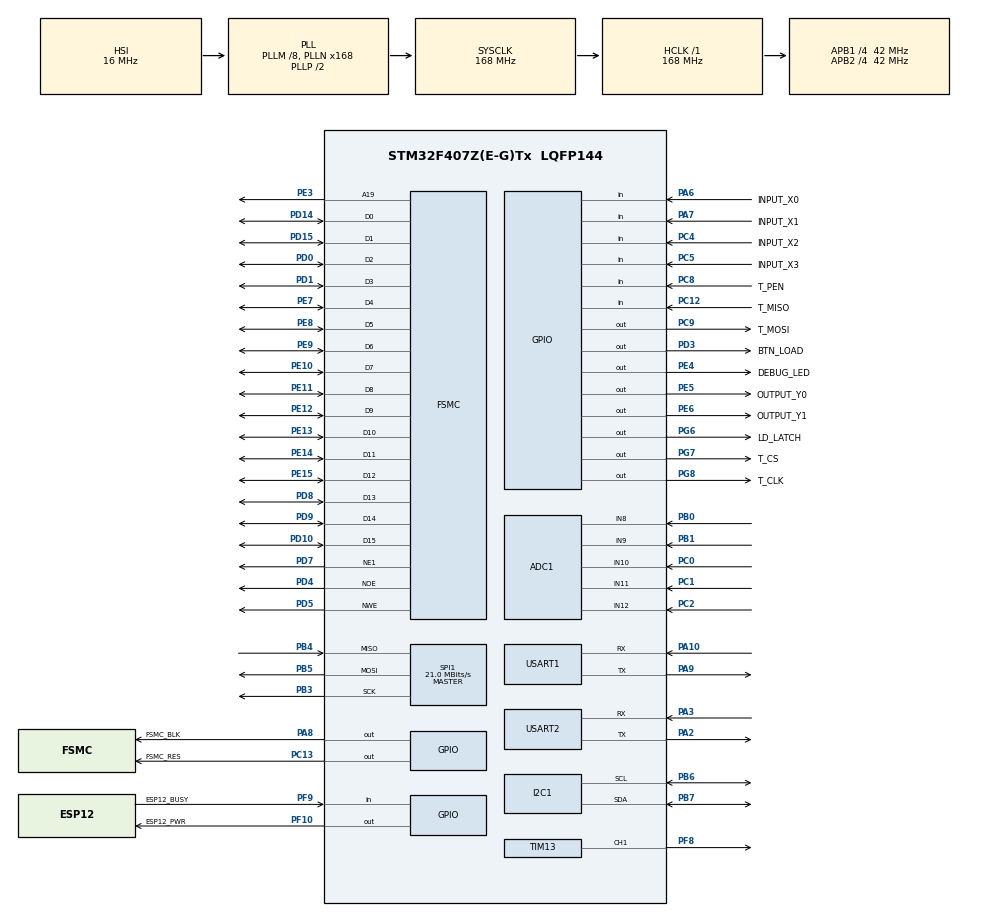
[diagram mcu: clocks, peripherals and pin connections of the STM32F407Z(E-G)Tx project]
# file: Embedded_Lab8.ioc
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ADC1.Channel-0\#ChannelRegularConversion=ADC_CHANNEL_8
ADC1.Channel-1\#ChannelRegularConversion=ADC_CHANNEL_9
ADC1.Channel-2\#ChannelRegularConversion=ADC_CHANNEL_10
ADC1.Channel-3\#ChannelRegularConversion=ADC_CHANNEL_11
ADC1.Channel-4\#ChannelRegularConversion=ADC_CHANNEL_12
ADC1.NbrOfConversion=5
ADC1.NbrOfConversionFlag=1
ADC1.Rank-0\#ChannelRegularConversion=1
ADC1.Rank-1\#ChannelRegularConversion=2
ADC1.Rank-2\#ChannelRegularConversion=3
ADC1.Rank-3\#ChannelRegularConversion=4
ADC1.Rank-4\#ChannelRegularConversion=5
ADC1.SamplingTime-0\#ChannelRegularConversion=ADC_SAMPLETIME_3CYCLES
ADC1.SamplingTime-1\#ChannelRegularConversion=ADC_SAMPLETIME_3CYCLES
ADC1.SamplingTime-2\#ChannelRegularConversion=ADC_SAMPLETIME_3CYCLES
ADC1.SamplingTime-3\#ChannelRegularConversion=ADC_SAMPLETIME_3CYCLES
ADC1.SamplingTime-4\#ChannelRegularConversion=ADC_SAMPLETIME_3CYCLES
ADC1.ScanConvMode=ENABLE
ADC1.master=1
Dma.ADC1.0.Direction=DMA_PERIPH_TO_MEMORY
Dma.ADC1.0.FIFOMode=DMA_FIFOMODE_DISABLE
Dma.ADC1.0.Instance=DMA2_Stream0
Dma.ADC1.0.MemDataAlignment=DMA_MDATAALIGN_HALFWORD
Dma.ADC1.0.MemInc=DMA_MINC_ENABLE
Dma.ADC1.0.Mode=DMA_CIRCULAR
Dma.ADC1.0.PeriphDataAlignment=DMA_PDATAALIGN_HALFWORD
Dma.ADC1.0.PeriphInc=DMA_PINC_DISABLE
Dma.ADC1.0.Priority=DMA_PRIORITY_LOW
Dma.Request0=ADC1
FSMC.AddressSetupTime1=0xf
FSMC.BusTurnAroundDuration1=0
FSMC.DataSetupTime1=60
FSMC.ExtendedAddressSetupTime1=8
FSMC.ExtendedBusTurnAroundDuration1=0
FSMC.ExtendedDataSetupTime1=9
FSMC.ExtendedMode1=FSMC_EXTENDED_MODE_ENABLE
Mcu.Family=STM32F4
Mcu.Name=STM32F407Z(E-G)Tx
Mcu.Package=LQFP144
NVIC.DMA2_Stream0_IRQn=true\:0\:0\:false\:false\:true\:false\:true
NVIC.PriorityGroup=NVIC_PRIORITYGROUP_4
NVIC.TIM2_IRQn=true\:0\:0\:false\:false\:true\:true\:true
NVIC.USART1_IRQn=true\:0\:0\:false\:false\:true\:true\:true
NVIC.USART2_IRQn=true\:0\:0\:false\:false\:true\:true\:true
PA10.Mode=Asynchronous
PA10.Signal=USART1_RX
PA13.Mode=Serial_Wire
PA13.Signal=SYS_JTMS-SWDIO
PA14.Mode=Serial_Wire
PA14.Signal=SYS_JTCK-SWCLK
PA2.Mode=Asynchronous
PA2.Signal=USART2_TX
PA3.Mode=Asynchronous
PA3.Signal=USART2_RX
PA6.GPIO_Label=INPUT_X0
PA6.Signal=GPIO_Input
PA7.GPIO_Label=INPUT_X1
PA7.Signal=GPIO_Input
PA8.GPIO_Label=FSMC_BLK
PA8.Signal=GPIO_Output
PA9.Mode=Asynchronous
PA9.Signal=USART1_TX
PB0.Signal=ADCx_IN8
PB1.Signal=ADCx_IN9
PB3.Mode=Full_Duplex_Master
PB3.Signal=SPI1_SCK
PB4.Mode=Full_Duplex_Master
PB4.Signal=SPI1_MISO
PB5.Mode=Full_Duplex_Master
PB5.Signal=SPI1_MOSI
PB6.Mode=I2C
PB6.Signal=I2C1_SCL
PB7.Mode=I2C
PB7.Signal=I2C1_SDA
PC0.Signal=ADCx_IN10
PC1.Signal=ADCx_IN11
PC12.GPIO_Label=T_MISO
PC12.GPIO_PuPd=GPIO_PULLUP
PC12.Signal=GPIO_Input
PC13-ANTI_TAMP.GPIO_Label=FSMC_RES
PC13-ANTI_TAMP.Signal=GPIO_Output
PC2.Signal=ADCx_IN12
PC4.GPIO_Label=INPUT_X2
PC4.Signal=GPIO_Input
PC5.GPIO_Label=INPUT_X3
PC5.Signal=GPIO_Input
PC8.GPIO_Label=T_PEN
PC8.GPIO_PuPd=GPIO_PULLUP
PC8.Signal=GPIO_Input
PC9.GPIO_Label=T_MOSI
PC9.Signal=GPIO_Output
PD0.Signal=FSMC_D2_DA2
PD1.Signal=FSMC_D3_DA3
PD10.Signal=FSMC_D15_DA15
PD14.Signal=FSMC_D0_DA0
PD15.Signal=FSMC_D1_DA1
PD3.GPIO_Label=BTN_LOAD
PD3.Signal=GPIO_Output
PD4.Signal=FSMC_NOE
PD5.Signal=FSMC_NWE
PD7.Mode=NorPsramChipSelect1_1
PD7.Signal=FSMC_NE1
PD8.Signal=FSMC_D13_DA13
PD9.Signal=FSMC_D14_DA14
PE10.Signal=FSMC_D7_DA7
PE11.Signal=FSMC_D8_DA8
PE12.Signal=FSMC_D9_DA9
PE13.Signal=FSMC_D10_DA10
PE14.Signal=FSMC_D11_DA11
PE15.Signal=FSMC_D12_DA12
PE3.Signal=FSMC_A19
PE4.GPIO_Label=DEBUG_LED
PE4.Signal=GPIO_Output
PE5.GPIO_Label=OUTPUT_Y0
PE5.Signal=GPIO_Output
PE6.GPIO_Label=OUTPUT_Y1
PE6.Signal=GPIO_Output
PE7.Signal=FSMC_D4_DA4
PE8.Signal=FSMC_D5_DA5
PE9.Signal=FSMC_D6_DA6
PF10.GPIO_Label=ESP12_PWR
PF10.Signal=GPIO_Output
PF8.Signal=S_TIM13_CH1
PF9.GPIO_Label=ESP12_BUSY
PF9.Signal=GPIO_Input
PG6.GPIO_Label=LD_LATCH
PG6.Signal=GPIO_Output
PG7.GPIO_Label=T_CS
PG7.Signal=GPIO_Output
PG8.GPIO_Label=T_CLK
PG8.Signal=GPIO_Output
PH0-OSC_IN.Mode=HSE-External-Oscillator
PH0-OSC_IN.Signal=RCC_OSC_IN
PH1-OSC_OUT.Mode=HSE-External-Oscillator
PH1-OSC_OUT.Signal=RCC_OSC_OUT
ProjectManager.HeapSize=0x200
ProjectManager.StackSize=0x400
ProjectManager.TargetToolchain=STM32CubeIDE
RCC.48MHZClocksFreq_Value=84000000
RCC.AHBFreq_Value=168000000
RCC.APB1CLKDivider=RCC_HCLK_DIV4
RCC.APB1Freq_Value=42000000
RCC.APB1TimFreq_Value=84000000
RCC.APB2CLKDivider=RCC_HCLK_DIV4
RCC.APB2Freq_Value=42000000
RCC.APB2TimFreq_Value=84000000
RCC.CortexFreq_Value=168000000
RCC.HCLKFreq_Value=168000000
RCC.HSE_VALUE=8000000
RCC.HSI_VALUE=16000000
RCC.LSE_VALUE=32768
RCC.PLLM=8
RCC.PLLN=168
RCC.SYSCLKFreq_VALUE=168000000
RCC.SYSCLKSource=RCC_SYSCLKSOURCE_PLLCLK
RCC.VCOOutputFreq_Value=336000000
SH.ADCx_IN10.0=ADC1_IN10,IN10
SH.ADCx_IN11.0=ADC1_IN11,IN11
SH.ADCx_IN12.0=ADC1_IN12,IN12
SH.ADCx_IN8.0=ADC1_IN8,IN8
SH.ADCx_IN9.0=ADC1_IN9,IN9
SH.FSMC_A19.0=FSMC_A19,A19_1
SH.FSMC_D0_DA0.0=FSMC_D0,16b-d1
SH.FSMC_D10_DA10.0=FSMC_D10,16b-d1
SH.FSMC_D11_DA11.0=FSMC_D11,16b-d1
SH.FSMC_D12_DA12.0=FSMC_D12,16b-d1
SH.FSMC_D13_DA13.0=FSMC_D13,16b-d1
SH.FSMC_D14_DA14.0=FSMC_D14,16b-d1
SH.FSMC_D15_DA15.0=FSMC_D15,16b-d1
SH.FSMC_D1_DA1.0=FSMC_D1,16b-d1
SH.FSMC_D2_DA2.0=FSMC_D2,16b-d1
SH.FSMC_D3_DA3.0=FSMC_D3,16b-d1
SH.FSMC_D4_DA4.0=FSMC_D4,16b-d1
SH.FSMC_D5_DA5.0=FSMC_D5,16b-d1
SH.FSMC_D6_DA6.0=FSMC_D6,16b-d1
SH.FSMC_D7_DA7.0=FSMC_D7,16b-d1
SH.FSMC_D8_DA8.0=FSMC_D8,16b-d1
SH.FSMC_D9_DA9.0=FSMC_D9,16b-d1
SH.FSMC_NOE.0=FSMC_NOE,Lcd1
SH.FSMC_NWE.0=FSMC_NWE,Lcd1
SH.S_TIM13_CH1.0=TIM13_CH1,PWM Generation1 CH1
SPI1.CalculateBaudRate=21.0 MBits/s
SPI1.Direction=SPI_DIRECTION_2LINES
SPI1.Mode=SPI_MODE_MASTER
SPI1.VirtualType=VM_MASTER
TIM1.Prescaler=84 - 1
TIM13.Channel=TIM_CHANNEL_1
TIM13.Period=100 - 1
TIM13.Prescaler=840 - 1
TIM2.Period=100 - 1
TIM2.Prescaler=840 - 1
USART1.VirtualMode=VM_ASYNC
USART2.VirtualMode=VM_ASYNC
VP_TIM13_VS_ClockSourceINT.Mode=Enable_Timer
VP_TIM1_VS_ClockSourceINT.Mode=Internal
VP_TIM2_VS_ClockSourceINT.Mode=Internal
board=custom

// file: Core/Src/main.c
/* USER CODE BEGIN Header */
/**
  ******************************************************************************
  * @file           : main.c
  * @brief          : Main program body
  ******************************************************************************
  * @attention
  *
  * <h2><center>&copy; Copyright (c) 2024 STMicroelectronics.
  * All rights reserved.</center></h2>
  *
  * This software component is licensed by ST under BSD 3-Clause license,
  * the "License"; You may not use this file except in compliance with the
  * License. You may obtain a copy of the License at:
  *                        opensource.org/licenses/BSD-3-Clause
  *
  ******************************************************************************
  */
/* USER CODE END Header */
#include "main.h"
#include "adc.h"
#include "dma.h"
#include "i2c.h"
#include "spi.h"
#include "tim.h"
#include "usart.h"
#include "gpio.h"
#include "fsmc.h"

/* USER CODE BEGIN Includes */
#include "software_timer.h"
#include "sensor.h"
#include "uart.h"
/* USER CODE END Includes */

/* USER CODE BEGIN PD */
#define MSG_SIZE	8

#define START_IDX	0
#define TEMP_IDX	1
#define DATA_IDX	5
#define END_IDX		7
/* USER CODE END PD */

/* USER CODE BEGIN PV */
uint16_t temperature = 0;
uint8_t msg[MSG_SIZE];
/* USER CODE END PV */

void SystemClock_Config(void);
/* USER CODE BEGIN PFP */
void system_init();
void read_temperature();
/* USER CODE END PFP */

int main(void)
{

  /* MCU Configuration--------------------------------------------------------*/

  /* Reset of all peripherals, Initializes the Flash interface and the Systick. */
  HAL_Init();

  /* Configure the system clock */
  SystemClock_Config();

  /* Initialize all configured peripherals */
  MX_GPIO_Init();
  MX_DMA_Init();
  MX_ADC1_Init();
  MX_FSMC_Init();
  MX_I2C1_Init();
  MX_SPI1_Init();
  MX_TIM2_Init();
  MX_USART1_UART_Init();
  MX_TIM1_Init();
  MX_TIM13_Init();
  MX_USART2_UART_Init();
  /* USER CODE BEGIN 2 */

  system_init();
  // check connection to esp
  while(uart_EspCheck()){
	  // do nothing
  }

  while(HAL_GPIO_ReadPin(ESP12_BUSY_GPIO_Port, ESP12_BUSY_Pin)){
	  // esp is busy -- do nothing
	  HAL_Delay(500);
  }
  lcd_ShowStr(5, 0, "ESP connect success", GREEN, RED, 24, 0);

  /* USER CODE END 2 */

  /* Infinite loop */
  while (1)
  {
	  if(flag_timer2){
		  flag_timer2 = 0;
		  // do something
		  read_temperature();
	  }
  }
}

void SystemClock_Config(void)
{
  RCC_OscInitTypeDef RCC_OscInitStruct = {0};
  RCC_ClkInitTypeDef RCC_ClkInitStruct = {0};

  /** Configure the main internal regulator output voltage
  */
  __HAL_RCC_PWR_CLK_ENABLE();
  __HAL_PWR_VOLTAGESCALING_CONFIG(PWR_REGULATOR_VOLTAGE_SCALE1);
  /** Initializes the RCC Oscillators according to the specified parameters
  * in the RCC_OscInitTypeDef structure.
  */
  RCC_OscInitStruct.OscillatorType = RCC_OSCILLATORTYPE_HSI;
  RCC_OscInitStruct.HSIState = RCC_HSI_ON;
  RCC_OscInitStruct.HSICalibrationValue = RCC_HSICALIBRATION_DEFAULT;
  RCC_OscInitStruct.PLL.PLLState = RCC_PLL_ON;
  RCC_OscInitStruct.PLL.PLLSource = RCC_PLLSOURCE_HSI;
  RCC_OscInitStruct.PLL.PLLM = 8;
  RCC_OscInitStruct.PLL.PLLN = 168;
  RCC_OscInitStruct.PLL.PLLP = RCC_PLLP_DIV2;
  RCC_OscInitStruct.PLL.PLLQ = 4;
  if (HAL_RCC_OscConfig(&RCC_OscInitStruct) != HAL_OK)
  {
    Error_Handler();
  }
  /** Initializes the CPU, AHB and APB buses clocks
  */
  RCC_ClkInitStruct.ClockType = RCC_CLOCKTYPE_HCLK|RCC_CLOCKTYPE_SYSCLK
                              |RCC_CLOCKTYPE_PCLK1|RCC_CLOCKTYPE_PCLK2;
  RCC_ClkInitStruct.SYSCLKSource = RCC_SYSCLKSOURCE_PLLCLK;
  RCC_ClkInitStruct.AHBCLKDivider = RCC_SYSCLK_DIV1;
  RCC_ClkInitStruct.APB1CLKDivider = RCC_HCLK_DIV4;
  RCC_ClkInitStruct.APB2CLKDivider = RCC_HCLK_DIV4;

  if (HAL_RCC_ClockConfig(&RCC_ClkInitStruct, FLASH_LATENCY_5) != HAL_OK)
  {
    Error_Handler();
  }
}

/* USER CODE BEGIN 4 */
void system_init(){
	timer_init();
	setTimer2(100);
	sensor_init();
	uart_init_esp();
	lcd_init();
}

uint16_t count = 0;
void read_temperature(){
	count = (count + 1) % 300;

	if(!count){
		// after 30s80
		// read sensor
		sensor_Read();
		// get temp
		temperature = sensor_GetTemperature();
		// show temperature to lcd
		lcd_ShowFloatNum(80, 100, temperature, 4, GREEN, RED, 32);
		// create message
		msg[START_IDX] = '!';
		memcpy(msg + TEMP_IDX, "TEMP", 4);
		memcpy(msg + DATA_IDX, &temperature, 2);
		msg[END_IDX] = '#';
		// send message to esp through uart
		uart_EspSendBytes(msg, MSG_SIZE);
	}
}
/* USER CODE END 4 */

void Error_Handler(void)
{
  __disable_irq();
  while (1)
  {
  }
}

/************************ (C) COPYRIGHT STMicroelectronics *****END OF FILE****/
